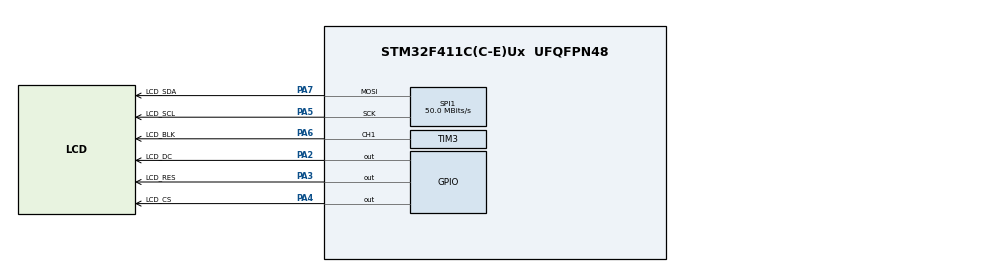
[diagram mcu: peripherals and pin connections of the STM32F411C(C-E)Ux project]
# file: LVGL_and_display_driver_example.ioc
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Dma.Request0=SPI1_TX
Dma.SPI1_TX.0.Direction=DMA_MEMORY_TO_PERIPH
Dma.SPI1_TX.0.FIFOMode=DMA_FIFOMODE_DISABLE
Dma.SPI1_TX.0.Instance=DMA2_Stream2
Dma.SPI1_TX.0.MemDataAlignment=DMA_MDATAALIGN_HALFWORD
Dma.SPI1_TX.0.MemInc=DMA_MINC_ENABLE
Dma.SPI1_TX.0.Mode=DMA_NORMAL
Dma.SPI1_TX.0.PeriphDataAlignment=DMA_PDATAALIGN_HALFWORD
Dma.SPI1_TX.0.PeriphInc=DMA_PINC_DISABLE
Dma.SPI1_TX.0.Priority=DMA_PRIORITY_LOW
Mcu.Family=STM32F4
Mcu.Name=STM32F411C(C-E)Ux
Mcu.Package=UFQFPN48
NVIC.DMA2_Stream2_IRQn=true\:0\:0\:false\:false\:true\:false\:true\:true
NVIC.PriorityGroup=NVIC_PRIORITYGROUP_4
PA13.Mode=Serial_Wire
PA13.Signal=SYS_JTMS-SWDIO
PA14.Mode=Serial_Wire
PA14.Signal=SYS_JTCK-SWCLK
PA2.GPIO_Label=LCD_DC
PA2.GPIO_PuPd=GPIO_PULLUP
PA2.GPIO_Speed=GPIO_SPEED_FREQ_HIGH
PA2.PinState=GPIO_PIN_SET
PA2.Signal=GPIO_Output
PA3.GPIO_Label=LCD_RES
PA3.GPIO_PuPd=GPIO_PULLUP
PA3.GPIO_Speed=GPIO_SPEED_FREQ_HIGH
PA3.PinState=GPIO_PIN_SET
PA3.Signal=GPIO_Output
PA4.GPIO_Label=LCD_CS
PA4.GPIO_PuPd=GPIO_PULLUP
PA4.GPIO_Speed=GPIO_SPEED_FREQ_HIGH
PA4.PinState=GPIO_PIN_SET
PA4.Signal=GPIO_Output
PA5.GPIO_Label=LCD_SCL
PA5.GPIO_PuPd=GPIO_PULLUP
PA5.GPIO_Speed=GPIO_SPEED_FREQ_VERY_HIGH
PA5.Mode=TX_Only_Simplex_Unidirect_Master
PA5.Signal=SPI1_SCK
PA6.GPIO_Label=LCD_BLK
PA6.Signal=S_TIM3_CH1
PA7.GPIO_Label=LCD_SDA
PA7.GPIO_PuPd=GPIO_PULLUP
PA7.GPIO_Speed=GPIO_SPEED_FREQ_VERY_HIGH
PA7.Mode=TX_Only_Simplex_Unidirect_Master
PA7.Signal=SPI1_MOSI
PH0\ -\ OSC_IN.Mode=HSE-External-Oscillator
PH0\ -\ OSC_IN.Signal=RCC_OSC_IN
PH1\ -\ OSC_OUT.Mode=HSE-External-Oscillator
PH1\ -\ OSC_OUT.Signal=RCC_OSC_OUT
ProjectManager.HeapSize=0x200
ProjectManager.StackSize=0x400
ProjectManager.TargetToolchain=STM32CubeIDE
RCC.48MHZClocksFreq_Value=50000000
RCC.AHBFreq_Value=100000000
RCC.APB1CLKDivider=RCC_HCLK_DIV2
RCC.APB1Freq_Value=50000000
RCC.APB1TimFreq_Value=100000000
RCC.APB2Freq_Value=100000000
RCC.APB2TimFreq_Value=100000000
RCC.CortexFreq_Value=100000000
RCC.HCLKFreq_Value=100000000
RCC.HSE_VALUE=25000000
RCC.HSI_VALUE=16000000
RCC.LSE_VALUE=32768
RCC.PLLM=12
RCC.PLLN=96
RCC.PLLSourceVirtual=RCC_PLLSOURCE_HSE
RCC.SYSCLKFreq_VALUE=100000000
RCC.SYSCLKSource=RCC_SYSCLKSOURCE_PLLCLK
RCC.VCOOutputFreq_Value=200000000
SH.S_TIM3_CH1.0=TIM3_CH1,PWM Generation1 CH1
SPI1.CLKPolarity=SPI_POLARITY_HIGH
SPI1.CalculateBaudRate=50.0 MBits/s
SPI1.DataSize=SPI_DATASIZE_16BIT
SPI1.Direction=SPI_DIRECTION_2LINES
SPI1.Mode=SPI_MODE_MASTER
SPI1.VirtualType=VM_MASTER
TIM3.Channel-PWM\ Generation1\ CH1=TIM_CHANNEL_1
TIM3.Period=249
TIM3.Prescaler=999
TIM3.Pulse-PWM\ Generation1\ CH1=125
board=custom

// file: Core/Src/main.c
/* USER CODE BEGIN Header */
/**
 *  LVGL + display driver example

 *  Copyright (C)2019-2025, VadRov, all right reserved.
 *
 *  https://www.youtube.com/@VadRov
 *  https://dzen.ru/vadrov
 *  https://vk.com/vadrov
 *  https://t.me/vadrov_channel
*/
/* USER CODE END Header */
#include "main.h"

/* USER CODE BEGIN Includes */
#define	ILI9341	0		//do not edit!!!
#define ST7789	1		//do not edit!!!

/* user options */
#define ACTIVE_DISPLAY	ILI9341 //select active display driver
#define DISP_HOR_RES	320		//select display resolution
#define DISP_VER_RES	240

#include "display.h"
#if ACTIVE_DISPLAY == ILI9341
#include "ili9341.h"
#elif ACTIVE_DISPLAY == ST7789
#include "st7789.h"
#endif
#include <stdlib.h>
#include "../../lvgl/lvgl.h"
#include "ui.h"
/* USER CODE END Includes */

/* USER CODE BEGIN PV */
#define BYTES_PER_PIXEL (LV_COLOR_FORMAT_GET_SIZE(LV_COLOR_FORMAT_RGB565))

static uint8_t buf1[DISP_HOR_RES * 10 * BYTES_PER_PIXEL];
static uint8_t buf2[DISP_HOR_RES * 10 * BYTES_PER_PIXEL];

volatile uint32_t millis = 0;
/* USER CODE END PV */

void SystemClock_Config(void);
static void MX_GPIO_Init(void);
static void MX_DMA_Init(void);
static void MX_SPI1_Init(void);
static void MX_TIM3_Init(void);
/* USER CODE BEGIN PFP */

void my_flush_cb(lv_display_t *display, const lv_area_t *area, uint8_t *px_map)
{
	int w = area->x2 - area->x1 + 1;
	int h = area->y2 - area->y1 + 1;
	LCD_DrawImage(LCD, area->x1, area->y1, w, h, (uint16_t*)px_map, 1);
    lv_display_flush_ready(display);
}

static uint32_t my_tick_cb(void)
{
    return millis;
}

/* USER CODE END PFP */

int main(void)
{

  /* USER CODE BEGIN 1 */
	FLASH->ACR |= FLASH_ACR_ICEN | FLASH_ACR_DCEN | FLASH_ACR_PRFTEN;
  /* USER CODE END 1 */

  /* MCU Configuration--------------------------------------------------------*/

  /* Reset of all peripherals, Initializes the Flash interface and the Systick. */
  LL_APB2_GRP1_EnableClock(LL_APB2_GRP1_PERIPH_SYSCFG);
  LL_APB1_GRP1_EnableClock(LL_APB1_GRP1_PERIPH_PWR);

  /* System interrupt init*/
  NVIC_SetPriorityGrouping(NVIC_PRIORITYGROUP_4);

  /* SysTick_IRQn interrupt configuration */
  NVIC_SetPriority(SysTick_IRQn, NVIC_EncodePriority(NVIC_GetPriorityGrouping(),15, 0));

  /* Configure the system clock */
  SystemClock_Config();

  /* USER CODE BEGIN SysInit */
  SysTick_Config(SystemCoreClock / 1000);
  /* USER CODE END SysInit */

  /* Initialize all configured peripherals */
  MX_GPIO_Init();
  MX_DMA_Init();
  MX_SPI1_Init();
  MX_TIM3_Init();
  /* USER CODE BEGIN 2 */

  LCD_DMA_TypeDef dma_tx = { DMA2, 2 };
  LCD_BackLight_data bkl_data = { TIM3,
		  	  	  	  	  	  	  TIM_CCER_CC1E,
  								  0,
  								  0,
  								  90  };
  LCD_SPI_Connected_data spi_con = { SPI1,
  		  	  	  	  	  	  	  	 dma_tx,
  									 LCD_RES_GPIO_Port,
  									 LCD_RES_Pin,
  									 LCD_DC_GPIO_Port,
  									 LCD_DC_Pin,
  									 LCD_CS_GPIO_Port,
  									 LCD_CS_Pin         };

  LCD = LCD_DisplayAdd(LCD,
   	   	   	   		   DISP_HOR_RES,
					   DISP_VER_RES,
#if ACTIVE_DISPLAY == ILI9341
					   ILI9341_CONTROLLER_WIDTH,
					   ILI9341_CONTROLLER_HEIGHT,
#elif ACTIVE_DISPLAY == ST7789
					 ST7789_CONTROLLER_WIDTH,
					 ST7789_CONTROLLER_HEIGHT,
#endif
					   0,
					   0,
					   PAGE_ORIENTATION_LANDSCAPE,
#if ACTIVE_DISPLAY == ILI9341
					   ILI9341_Init,
					   ILI9341_SetWindow,
					   ILI9341_SleepIn,
					   ILI9341_SleepOut,
#elif ACTIVE_DISPLAY == ST7789
					   ST7789_Init,
					   ST7789_SetWindow,
					   ST7789_SleepIn,
					   ST7789_SleepOut,
#endif
					   &spi_con,
					   LCD_DATA_16BIT_BUS,
					   bkl_data				   );
  LCD_Init(LCD);

  lv_init();
  lv_tick_set_cb(my_tick_cb);
  lv_display_t * display1 = lv_display_create(DISP_HOR_RES, DISP_VER_RES);
  lv_display_set_buffers(display1, buf1, buf2, DISP_HOR_RES * 10 * BYTES_PER_PIXEL, LV_DISPLAY_RENDER_MODE_PARTIAL);
  lv_display_set_flush_cb(display1, my_flush_cb);

  ui_init();

  /* USER CODE END 2 */

  /* Infinite loop */
  /* USER CODE BEGIN WHILE */

  while (1)
  {
	  lv_timer_handler();
	  LCD_DelayMs(1);
    /* USER CODE END WHILE */

  }
}

void SystemClock_Config(void)
{
  LL_FLASH_SetLatency(LL_FLASH_LATENCY_3);
  while(LL_FLASH_GetLatency()!= LL_FLASH_LATENCY_3)
  {
  }
  LL_PWR_SetRegulVoltageScaling(LL_PWR_REGU_VOLTAGE_SCALE1);
  LL_RCC_HSE_Enable();

   /* Wait till HSE is ready */
  while(LL_RCC_HSE_IsReady() != 1)
  {

  }
  LL_RCC_PLL_ConfigDomain_SYS(LL_RCC_PLLSOURCE_HSE, LL_RCC_PLLM_DIV_12, 96, LL_RCC_PLLP_DIV_2);
  LL_RCC_PLL_Enable();

   /* Wait till PLL is ready */
  while(LL_RCC_PLL_IsReady() != 1)
  {

  }
  while (LL_PWR_IsActiveFlag_VOS() == 0)
  {
  }
  LL_RCC_SetAHBPrescaler(LL_RCC_SYSCLK_DIV_1);
  LL_RCC_SetAPB1Prescaler(LL_RCC_APB1_DIV_2);
  LL_RCC_SetAPB2Prescaler(LL_RCC_APB2_DIV_1);
  LL_RCC_SetSysClkSource(LL_RCC_SYS_CLKSOURCE_PLL);

   /* Wait till System clock is ready */
  while(LL_RCC_GetSysClkSource() != LL_RCC_SYS_CLKSOURCE_STATUS_PLL)
  {

  }
  LL_Init1msTick(100000000);
  LL_SetSystemCoreClock(100000000);
  LL_RCC_SetTIMPrescaler(LL_RCC_TIM_PRESCALER_TWICE);
}

static void MX_SPI1_Init(void)
{

  LL_SPI_InitTypeDef SPI_InitStruct = {0};

  LL_GPIO_InitTypeDef GPIO_InitStruct = {0};

  /* Peripheral clock enable */
  LL_APB2_GRP1_EnableClock(LL_APB2_GRP1_PERIPH_SPI1);

  LL_AHB1_GRP1_EnableClock(LL_AHB1_GRP1_PERIPH_GPIOA);
  /**SPI1 GPIO Configuration
  PA5   ------> SPI1_SCK
  PA7   ------> SPI1_MOSI
  */
  GPIO_InitStruct.Pin = LCD_SCL_Pin|LCD_SDA_Pin;
  GPIO_InitStruct.Mode = LL_GPIO_MODE_ALTERNATE;
  GPIO_InitStruct.Speed = LL_GPIO_SPEED_FREQ_VERY_HIGH;
  GPIO_InitStruct.OutputType = LL_GPIO_OUTPUT_PUSHPULL;
#if ACTIVE_DISPLAY == ILI9341
  GPIO_InitStruct.Pull = LL_GPIO_PULL_NO;
#elif ACTIVE_DISPLAY == ST7789
  GPIO_InitStruct.Pull = LL_GPIO_PULL_UP;
#endif
  GPIO_InitStruct.Alternate = LL_GPIO_AF_5;
  LL_GPIO_Init(GPIOA, &GPIO_InitStruct);

  /* SPI1 DMA Init */

  /* SPI1_TX Init */
  LL_DMA_SetChannelSelection(DMA2, LL_DMA_STREAM_2, LL_DMA_CHANNEL_2);

  LL_DMA_SetDataTransferDirection(DMA2, LL_DMA_STREAM_2, LL_DMA_DIRECTION_MEMORY_TO_PERIPH);

  LL_DMA_SetStreamPriorityLevel(DMA2, LL_DMA_STREAM_2, LL_DMA_PRIORITY_LOW);

  LL_DMA_SetMode(DMA2, LL_DMA_STREAM_2, LL_DMA_MODE_NORMAL);

  LL_DMA_SetPeriphIncMode(DMA2, LL_DMA_STREAM_2, LL_DMA_PERIPH_NOINCREMENT);

  LL_DMA_SetMemoryIncMode(DMA2, LL_DMA_STREAM_2, LL_DMA_MEMORY_INCREMENT);

  LL_DMA_SetPeriphSize(DMA2, LL_DMA_STREAM_2, LL_DMA_PDATAALIGN_HALFWORD);

  LL_DMA_SetMemorySize(DMA2, LL_DMA_STREAM_2, LL_DMA_MDATAALIGN_HALFWORD);

  LL_DMA_DisableFifoMode(DMA2, LL_DMA_STREAM_2);

  /* SPI1 parameter configuration*/
  SPI_InitStruct.TransferDirection = LL_SPI_FULL_DUPLEX;
  SPI_InitStruct.Mode = LL_SPI_MODE_MASTER;
  SPI_InitStruct.DataWidth = LL_SPI_DATAWIDTH_16BIT;
#if ACTIVE_DISPLAY == ILI9341
  SPI_InitStruct.ClockPolarity = LL_SPI_POLARITY_LOW;
#elif ACTIVE_DISPLAY == ST7789
  SPI_InitStruct.ClockPolarity = LL_SPI_POLARITY_HIGH;
#endif
  SPI_InitStruct.ClockPhase = LL_SPI_PHASE_1EDGE;
  SPI_InitStruct.NSS = LL_SPI_NSS_SOFT;
  SPI_InitStruct.BaudRate = LL_SPI_BAUDRATEPRESCALER_DIV2;
  SPI_InitStruct.BitOrder = LL_SPI_MSB_FIRST;
  SPI_InitStruct.CRCCalculation = LL_SPI_CRCCALCULATION_DISABLE;
  SPI_InitStruct.CRCPoly = 10;
  LL_SPI_Init(SPI1, &SPI_InitStruct);
  LL_SPI_SetStandard(SPI1, LL_SPI_PROTOCOL_MOTOROLA);

}

static void MX_TIM3_Init(void)
{

  LL_TIM_InitTypeDef TIM_InitStruct = {0};
  LL_TIM_OC_InitTypeDef TIM_OC_InitStruct = {0};

  LL_GPIO_InitTypeDef GPIO_InitStruct = {0};

  /* Peripheral clock enable */
  LL_APB1_GRP1_EnableClock(LL_APB1_GRP1_PERIPH_TIM3);

  TIM_InitStruct.Prescaler = 999;
  TIM_InitStruct.CounterMode = LL_TIM_COUNTERMODE_UP;
  TIM_InitStruct.Autoreload = 249;
  TIM_InitStruct.ClockDivision = LL_TIM_CLOCKDIVISION_DIV1;
  LL_TIM_Init(TIM3, &TIM_InitStruct);
  LL_TIM_DisableARRPreload(TIM3);
  LL_TIM_OC_EnablePreload(TIM3, LL_TIM_CHANNEL_CH1);
  TIM_OC_InitStruct.OCMode = LL_TIM_OCMODE_PWM1;
  TIM_OC_InitStruct.OCState = LL_TIM_OCSTATE_DISABLE;
  TIM_OC_InitStruct.OCNState = LL_TIM_OCSTATE_DISABLE;
  TIM_OC_InitStruct.CompareValue = 125;
  TIM_OC_InitStruct.OCPolarity = LL_TIM_OCPOLARITY_HIGH;
  LL_TIM_OC_Init(TIM3, LL_TIM_CHANNEL_CH1, &TIM_OC_InitStruct);
  LL_TIM_OC_DisableFast(TIM3, LL_TIM_CHANNEL_CH1);
  LL_TIM_SetTriggerOutput(TIM3, LL_TIM_TRGO_RESET);
  LL_TIM_DisableMasterSlaveMode(TIM3);
  LL_AHB1_GRP1_EnableClock(LL_AHB1_GRP1_PERIPH_GPIOA);
  /**TIM3 GPIO Configuration
  PA6   ------> TIM3_CH1
  */
  GPIO_InitStruct.Pin = LCD_BLK_Pin;
  GPIO_InitStruct.Mode = LL_GPIO_MODE_ALTERNATE;
  GPIO_InitStruct.Speed = LL_GPIO_SPEED_FREQ_LOW;
  GPIO_InitStruct.OutputType = LL_GPIO_OUTPUT_PUSHPULL;
  GPIO_InitStruct.Pull = LL_GPIO_PULL_NO;
  GPIO_InitStruct.Alternate = LL_GPIO_AF_2;
  LL_GPIO_Init(LCD_BLK_GPIO_Port, &GPIO_InitStruct);

}

static void MX_DMA_Init(void)
{

  /* Init with LL driver */
  /* DMA controller clock enable */
  LL_AHB1_GRP1_EnableClock(LL_AHB1_GRP1_PERIPH_DMA2);

  /* DMA interrupt init */
  /* DMA2_Stream2_IRQn interrupt configuration */
  NVIC_SetPriority(DMA2_Stream2_IRQn, NVIC_EncodePriority(NVIC_GetPriorityGrouping(),0, 0));
  NVIC_EnableIRQ(DMA2_Stream2_IRQn);

}

static void MX_GPIO_Init(void)
{
  LL_GPIO_InitTypeDef GPIO_InitStruct = {0};

  /* GPIO Ports Clock Enable */
  LL_AHB1_GRP1_EnableClock(LL_AHB1_GRP1_PERIPH_GPIOH);
  LL_AHB1_GRP1_EnableClock(LL_AHB1_GRP1_PERIPH_GPIOA);

  /**/
  LL_GPIO_SetOutputPin(GPIOA, LCD_DC_Pin|LCD_RES_Pin|LCD_CS_Pin);

  /**/
  GPIO_InitStruct.Pin = LCD_DC_Pin|LCD_RES_Pin|LCD_CS_Pin;
  GPIO_InitStruct.Mode = LL_GPIO_MODE_OUTPUT;
  GPIO_InitStruct.Speed = LL_GPIO_SPEED_FREQ_HIGH;
  GPIO_InitStruct.OutputType = LL_GPIO_OUTPUT_PUSHPULL;
  GPIO_InitStruct.Pull = LL_GPIO_PULL_UP;
  LL_GPIO_Init(GPIOA, &GPIO_InitStruct);

}

void Error_Handler(void)
{
  __disable_irq();
  while (1)
  {
  }
}
